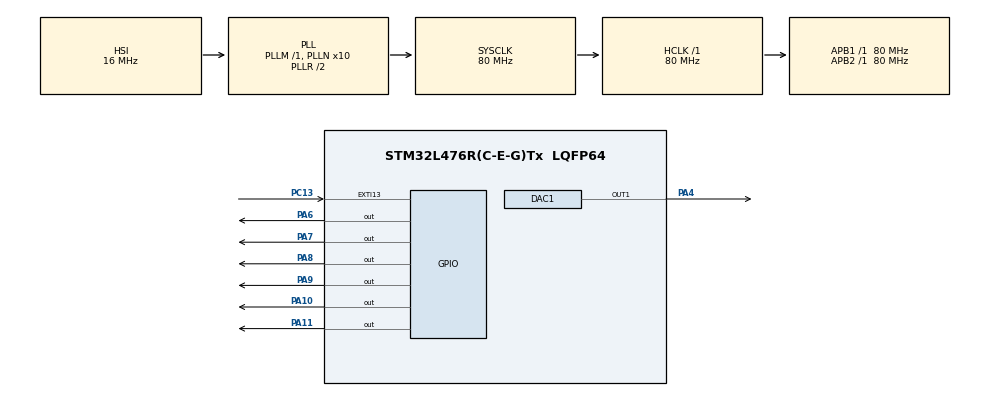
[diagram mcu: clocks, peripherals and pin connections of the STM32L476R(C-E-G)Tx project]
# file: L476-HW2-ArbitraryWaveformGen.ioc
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DAC1.DAC_Trigger-DAC_OUT1=DAC_TRIGGER_T2_TRGO
Dma.DAC_CH1.0.Direction=DMA_MEMORY_TO_PERIPH
Dma.DAC_CH1.0.Instance=DMA1_Channel3
Dma.DAC_CH1.0.MemDataAlignment=DMA_MDATAALIGN_HALFWORD
Dma.DAC_CH1.0.MemInc=DMA_MINC_ENABLE
Dma.DAC_CH1.0.Mode=DMA_CIRCULAR
Dma.DAC_CH1.0.PeriphDataAlignment=DMA_PDATAALIGN_HALFWORD
Dma.DAC_CH1.0.PeriphInc=DMA_PINC_DISABLE
Dma.DAC_CH1.0.Priority=DMA_PRIORITY_LOW
Dma.Request0=DAC_CH1
Mcu.Family=STM32L4
Mcu.Name=STM32L476R(C-E-G)Tx
Mcu.Package=LQFP64
NVIC.DMA1_Channel3_IRQn=true\:0\:0\:false\:false\:true\:false\:true\:true
NVIC.EXTI15_10_IRQn=true\:0\:0\:false\:false\:true\:true\:true\:true
NVIC.PriorityGroup=NVIC_PRIORITYGROUP_4
NVIC.TIM2_IRQn=true\:0\:0\:false\:false\:true\:true\:true\:true
PA10.Signal=GPIO_Output
PA11.Signal=GPIO_Output
PA4.Signal=COMP_DAC11_group
PA6.Signal=GPIO_Output
PA7.Signal=GPIO_Output
PA8.Signal=GPIO_Output
PA9.Signal=GPIO_Output
PC13.GPIO_ModeDefaultEXTI=GPIO_MODE_IT_FALLING
PC13.Signal=GPXTI13
ProjectManager.HeapSize=0x200
ProjectManager.StackSize=0x400
ProjectManager.TargetToolchain=STM32CubeIDE
RCC.ADCFreq_Value=64000000
RCC.AHBFreq_Value=80000000
RCC.APB1Freq_Value=80000000
RCC.APB1TimFreq_Value=80000000
RCC.APB2Freq_Value=80000000
RCC.APB2TimFreq_Value=80000000
RCC.CortexFreq_Value=80000000
RCC.HCLKFreq_Value=80000000
RCC.HSE_VALUE=8000000
RCC.HSI_VALUE=16000000
RCC.LSE_VALUE=32768
RCC.MSI_VALUE=4000000
RCC.PLLN=10
RCC.PLLSourceVirtual=RCC_PLLSOURCE_HSI
RCC.PREFETCH_ENABLE=1
RCC.SYSCLKFreq_VALUE=80000000
RCC.SYSCLKSource=RCC_SYSCLKSOURCE_PLLCLK
RCC.USBFreq_Value=64000000
RCC.VCOOutputFreq_Value=160000000
SH.COMP_DAC11_group.0=DAC1_OUT1,DAC_OUT1
TIM2.AutoReloadPreload=TIM_AUTORELOAD_PRELOAD_ENABLE
TIM2.ClockDivision=TIM_CLOCKDIVISION_DIV2
TIM2.CounterMode=TIM_COUNTERMODE_DOWN
TIM2.Period=19
TIM2.Prescaler=3999
TIM2.TIM_MasterOutputTrigger=TIM_TRGO_UPDATE
VP_TIM2_VS_ClockSourceINT.Mode=Internal
board=NUCLEO-L476RG

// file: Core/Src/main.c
/* USER CODE BEGIN Header */
/**
  ******************************************************************************
  * @file           : main.c
  * @brief          : Main program body
  ******************************************************************************
  * @attention
  *
  * Copyright (c) 2026 STMicroelectronics.
  * All rights reserved.
  *
  * This software is licensed under terms that can be found in the LICENSE file
  * in the root directory of this software component.
  * If no LICENSE file comes with this software, it is provided AS-IS.
  *
  ******************************************************************************
  */
/* USER CODE END Header */
#include "main.h"

/* USER CODE BEGIN Includes */
#include "lcd.h"
#include "math.h"
#include <stdio.h>
#define TABLE_SIZE 128
/* USER CODE END Includes */

/* USER CODE BEGIN PTD */
typedef enum {Sawtooth, Square, Sine, Trapezoidal} Waveform_t;
uint16_t sawTable[TABLE_SIZE];
uint16_t squareTable[TABLE_SIZE];
uint16_t sineTable[TABLE_SIZE];
uint16_t trapezoidTable[TABLE_SIZE];
uint16_t *currentTable =sawTable;
Waveform_t currentWave = Sawtooth;//initial waveform = Sawtooth
/* USER CODE END PTD */

DAC_HandleTypeDef hdac1;
DMA_HandleTypeDef hdma_dac_ch1;

TIM_HandleTypeDef htim2;

void SystemClock_Config(void);
static void MX_GPIO_Init(void);
static void MX_DMA_Init(void);
static void MX_DAC1_Init(void);
static void MX_TIM2_Init(void);

/* USER CODE BEGIN 0 */

//================================**Sawtooth wave callback**=========================================================//
//float DAC_RANGE =4095;   //Numerical mapping 1.0(float)=(2^12)-1=3.3v
//float j=0.0;
//uint32_t DACData;
//void HAL_TIM_PeriodElapsedCallback(TIM_HandleTypeDef *htim){
//	DACData=((uint32_t)(j*DAC_RANGE)); //float to DAC conversion
//	HAL_DAC_SetValue(&hdac1, DAC_CHANNEL_1, DAC_ALIGN_12B_R, DACData);
//	j=j+0.1;
//	if(j>1.0)j=0.0;
//}

//=================================** square wave callback **=========================================================//
//float j=0.0;
//uint32_t DACData;
//void HAL_TIM_PeriodElapsedCallback(TIM_HandleTypeDef *htim)
//{
//    if(j < 0.5)
//        DACData = 4095;
//    else
//        DACData = 0;
//    HAL_DAC_SetValue(&hdac1,DAC_CHANNEL_1,DAC_ALIGN_12B_R,DACData);
//    j = j + 0.1;
//    if(j > 1.0)
//        j = 0.0;
//}

//=================================** sine wave callback**=========================================================//
//uint16_t indexWave=0;
//void HAL_TIM_PeriodElapsedCallback(TIM_HandleTypeDef *htim)
//{
//	HAL_DAC_SetValue(&hdac1,DAC_CHANNEL_1,DAC_ALIGN_12B_R,sineTable[indexWave]);
//	indexWave++;
//	if(indexWave >=TABLE_SIZE)
//		indexWave=0;
//}

//=================================** trapzoid wave callback**=========================================================//
//uint16_t trapzoidTable[TABLE_SIZE];
//uint16_t indexWave=0;
//void HAL_TIM_PeriodElapsedCallback(TIM_HandleTypeDef *htim)
//{
//	HAL_DAC_SetValue(&hdac1,DAC_CHANNEL_1,DAC_ALIGN_12B_R,trapzoidTable[indexWave]);
//	indexWave++;
//	if(indexWave >=TABLE_SIZE)
//		indexWave=0;
//}

//=================================>>  Callback  methoed <<========================================================================//
//=================================**  changing waveform callback**=========================================================//
//uint16_t indexWave=0;
//void HAL_TIM_PeriodElapsedCallback(TIM_HandleTypeDef *htim)
//{
//	HAL_DAC_SetValue(&hdac1,DAC_CHANNEL_1,DAC_ALIGN_12B_R,currentTable[indexWave]);
//	indexWave++;
//	if(indexWave >=TABLE_SIZE)
//		indexWave=0;
//}

//=================================**external button interrup callback function **=========================================================//
//void HAL_GPIO_EXTI_Callback(uint16_t GPIO_PIN){
//	if(GPIO_PIN==GPIO_PIN_13){
//
//		currentWave++;
//		if(currentWave > Trapezoidal)
//				currentWave = Sawtooth;
//
//		switch(currentWave)
//		{
//			case Sawtooth:
//				currentTable = sawTable;
//				break;
//
//			case Square:
//				currentTable = squareTable;
//				break;
//
//			case Sine:
//				currentTable = sineTable;
//				break;
//
//			case Trapezoidal:
//				currentTable = trapezoidTable;
//				break;
//		}
//
//	}
//
//}
//=================================>>  Callback method <<========================================================================//
//=================================**********************========================================================================//
//=================================>>     DMA   method <<========================================================================//

void HAL_GPIO_EXTI_Callback(uint16_t GPIO_PIN){
	if(GPIO_PIN==GPIO_PIN_13){

		currentWave++;
		if(currentWave > Trapezoidal)
				currentWave = Sawtooth;

		switch(currentWave)
		{
			case Sawtooth:
				currentTable = sawTable;
				break;

			case Square:
				currentTable = squareTable;
				break;

			case Sine:
				currentTable = sineTable;
				break;

			case Trapezoidal:
				currentTable = trapezoidTable;
				break;
		}

		HAL_DAC_Stop_DMA(&hdac1, DAC_CHANNEL_1);

		HAL_DAC_Start_DMA(&hdac1,DAC_CHANNEL_1,(uint32_t*)currentTable,TABLE_SIZE,DAC_ALIGN_12B_R);

	}

}

//=================================>>     DMA   method <<========================================================================//

/* USER CODE END 0 */

int main(void)
{

  /* MCU Configuration--------------------------------------------------------*/

  /* Reset of all peripherals, Initializes the Flash interface and the Systick. */
  HAL_Init();

  /* Configure the system clock */
  SystemClock_Config();

  /* Initialize all configured peripherals */
  MX_GPIO_Init();
  MX_DMA_Init();
  MX_DAC1_Init();
  MX_TIM2_Init();
  /* USER CODE BEGIN 2 */
  //================================**initial Sawtooth wave table**=========================================================//
  for (int i=0; i<TABLE_SIZE; i++){
  	sawTable[i]=i*32;
  }

  //================================**initial Square wave table**=========================================================//
  for (int i=0; i<TABLE_SIZE; i++){
  	if(i < TABLE_SIZE/2)
  		squareTable[i]=4095;
  	else
  		squareTable[i]=0;
  }

  //=================================**initial sine wave table**=========================================================//
  for(int i =0; i<TABLE_SIZE;i++){
	  sineTable[i]=(sin(2*3.14159*i/TABLE_SIZE)+1)*2027;
  }

  //=================================**initial trapzoid wave table**=========================================================//
   for(int i =0; i<TABLE_SIZE;i++){
	   //Rising edge
	   if(i<32){
		   trapezoidTable[i]=i*128;
	   }
	   //High level
	   else if(i<64){
		   trapezoidTable[i]=4095;
	   }
	   //Fallinh edge
	   else if(i<96){
		   trapezoidTable[i]=4095-((i-64)*128);
	   }
	   //Low level
	   else {
		   trapezoidTable[i]=0;
	   }

   }

  /* USER CODE END 2 */

  /* Infinite loop */
  /* USER CODE BEGIN WHILE */
   //=================================>>  Callback method <<========================================================================//
//  HAL_TIM_Base_Start_IT(&htim2);
//  HAL_DAC_Start(&hdac1, DAC_CHANNEL_1);

//=================================>>     DMA   method <<========================================================================//
  //DMA
  HAL_TIM_Base_Start(&htim2);
  HAL_DAC_Start_DMA(&hdac1,DAC_CHANNEL_1,(uint32_t*)currentTable,TABLE_SIZE,DAC_ALIGN_12B_R);

  lcd_Init();
  lcd_Puts("Waveform style: ");
  char buff[32];
  while (1)
  {
	  lcd_Goto(0,1);
	  switch(currentWave)
	  {
	      case Sawtooth:
	          sprintf(buff,"Sawtooth   ");
	          break;

	      case Square:
	          sprintf(buff,"Squarewave ");
	          break;

	      case Sine:
	          sprintf(buff,"Sinewave   ");
	          break;

	      case Trapezoidal:
	          sprintf(buff,"Trapezoidal");
	          break;
	  }
	  lcd_Puts(buff);

    /* USER CODE END WHILE */

  }
}

void SystemClock_Config(void)
{
  RCC_OscInitTypeDef RCC_OscInitStruct = {0};
  RCC_ClkInitTypeDef RCC_ClkInitStruct = {0};

  /** Configure the main internal regulator output voltage
  */
  if (HAL_PWREx_ControlVoltageScaling(PWR_REGULATOR_VOLTAGE_SCALE1) != HAL_OK)
  {
    Error_Handler();
  }

  /** Initializes the RCC Oscillators according to the specified parameters
  * in the RCC_OscInitTypeDef structure.
  */
  RCC_OscInitStruct.OscillatorType = RCC_OSCILLATORTYPE_HSI;
  RCC_OscInitStruct.HSIState = RCC_HSI_ON;
  RCC_OscInitStruct.HSICalibrationValue = RCC_HSICALIBRATION_DEFAULT;
  RCC_OscInitStruct.PLL.PLLState = RCC_PLL_ON;
  RCC_OscInitStruct.PLL.PLLSource = RCC_PLLSOURCE_HSI;
  RCC_OscInitStruct.PLL.PLLM = 1;
  RCC_OscInitStruct.PLL.PLLN = 10;
  RCC_OscInitStruct.PLL.PLLP = RCC_PLLP_DIV7;
  RCC_OscInitStruct.PLL.PLLQ = RCC_PLLQ_DIV2;
  RCC_OscInitStruct.PLL.PLLR = RCC_PLLR_DIV2;
  if (HAL_RCC_OscConfig(&RCC_OscInitStruct) != HAL_OK)
  {
    Error_Handler();
  }

  /** Initializes the CPU, AHB and APB buses clocks
  */
  RCC_ClkInitStruct.ClockType = RCC_CLOCKTYPE_HCLK|RCC_CLOCKTYPE_SYSCLK
                              |RCC_CLOCKTYPE_PCLK1|RCC_CLOCKTYPE_PCLK2;
  RCC_ClkInitStruct.SYSCLKSource = RCC_SYSCLKSOURCE_PLLCLK;
  RCC_ClkInitStruct.AHBCLKDivider = RCC_SYSCLK_DIV1;
  RCC_ClkInitStruct.APB1CLKDivider = RCC_HCLK_DIV1;
  RCC_ClkInitStruct.APB2CLKDivider = RCC_HCLK_DIV1;

  if (HAL_RCC_ClockConfig(&RCC_ClkInitStruct, FLASH_LATENCY_4) != HAL_OK)
  {
    Error_Handler();
  }
}

static void MX_DAC1_Init(void)
{

  DAC_ChannelConfTypeDef sConfig = {0};

  /** DAC Initialization
  */
  hdac1.Instance = DAC1;
  if (HAL_DAC_Init(&hdac1) != HAL_OK)
  {
    Error_Handler();
  }

  /** DAC channel OUT1 config
  */
  sConfig.DAC_SampleAndHold = DAC_SAMPLEANDHOLD_DISABLE;
  sConfig.DAC_Trigger = DAC_TRIGGER_T2_TRGO;
  sConfig.DAC_OutputBuffer = DAC_OUTPUTBUFFER_ENABLE;
  sConfig.DAC_ConnectOnChipPeripheral = DAC_CHIPCONNECT_DISABLE;
  sConfig.DAC_UserTrimming = DAC_TRIMMING_FACTORY;
  if (HAL_DAC_ConfigChannel(&hdac1, &sConfig, DAC_CHANNEL_1) != HAL_OK)
  {
    Error_Handler();
  }

}

static void MX_TIM2_Init(void)
{

  TIM_ClockConfigTypeDef sClockSourceConfig = {0};
  TIM_MasterConfigTypeDef sMasterConfig = {0};

  htim2.Instance = TIM2;
  htim2.Init.Prescaler = 3999;
  htim2.Init.CounterMode = TIM_COUNTERMODE_DOWN;
  htim2.Init.Period = 19;
  htim2.Init.ClockDivision = TIM_CLOCKDIVISION_DIV2;
  htim2.Init.AutoReloadPreload = TIM_AUTORELOAD_PRELOAD_ENABLE;
  if (HAL_TIM_Base_Init(&htim2) != HAL_OK)
  {
    Error_Handler();
  }
  sClockSourceConfig.ClockSource = TIM_CLOCKSOURCE_INTERNAL;
  if (HAL_TIM_ConfigClockSource(&htim2, &sClockSourceConfig) != HAL_OK)
  {
    Error_Handler();
  }
  sMasterConfig.MasterOutputTrigger = TIM_TRGO_UPDATE;
  sMasterConfig.MasterSlaveMode = TIM_MASTERSLAVEMODE_DISABLE;
  if (HAL_TIMEx_MasterConfigSynchronization(&htim2, &sMasterConfig) != HAL_OK)
  {
    Error_Handler();
  }

}

static void MX_DMA_Init(void)
{

  /* DMA controller clock enable */
  __HAL_RCC_DMA1_CLK_ENABLE();

  /* DMA interrupt init */
  /* DMA1_Channel3_IRQn interrupt configuration */
  HAL_NVIC_SetPriority(DMA1_Channel3_IRQn, 0, 0);
  HAL_NVIC_EnableIRQ(DMA1_Channel3_IRQn);

}

static void MX_GPIO_Init(void)
{
  GPIO_InitTypeDef GPIO_InitStruct = {0};

  /* GPIO Ports Clock Enable */
  __HAL_RCC_GPIOC_CLK_ENABLE();
  __HAL_RCC_GPIOA_CLK_ENABLE();

  /*Configure GPIO pin Output Level */
  HAL_GPIO_WritePin(GPIOA, GPIO_PIN_6|GPIO_PIN_7|GPIO_PIN_8|GPIO_PIN_9
                          |GPIO_PIN_10|GPIO_PIN_11, GPIO_PIN_RESET);

  /*Configure GPIO pin : PC13 */
  GPIO_InitStruct.Pin = GPIO_PIN_13;
  GPIO_InitStruct.Mode = GPIO_MODE_IT_FALLING;
  GPIO_InitStruct.Pull = GPIO_NOPULL;
  HAL_GPIO_Init(GPIOC, &GPIO_InitStruct);

  /*Configure GPIO pins : PA6 PA7 PA8 PA9
                           PA10 PA11 */
  GPIO_InitStruct.Pin = GPIO_PIN_6|GPIO_PIN_7|GPIO_PIN_8|GPIO_PIN_9
                          |GPIO_PIN_10|GPIO_PIN_11;
  GPIO_InitStruct.Mode = GPIO_MODE_OUTPUT_PP;
  GPIO_InitStruct.Pull = GPIO_NOPULL;
  GPIO_InitStruct.Speed = GPIO_SPEED_FREQ_LOW;
  HAL_GPIO_Init(GPIOA, &GPIO_InitStruct);

  /* EXTI interrupt init*/
  HAL_NVIC_SetPriority(EXTI15_10_IRQn, 0, 0);
  HAL_NVIC_EnableIRQ(EXTI15_10_IRQn);

}

void Error_Handler(void)
{
  __disable_irq();
  while (1)
  {
  }
}
